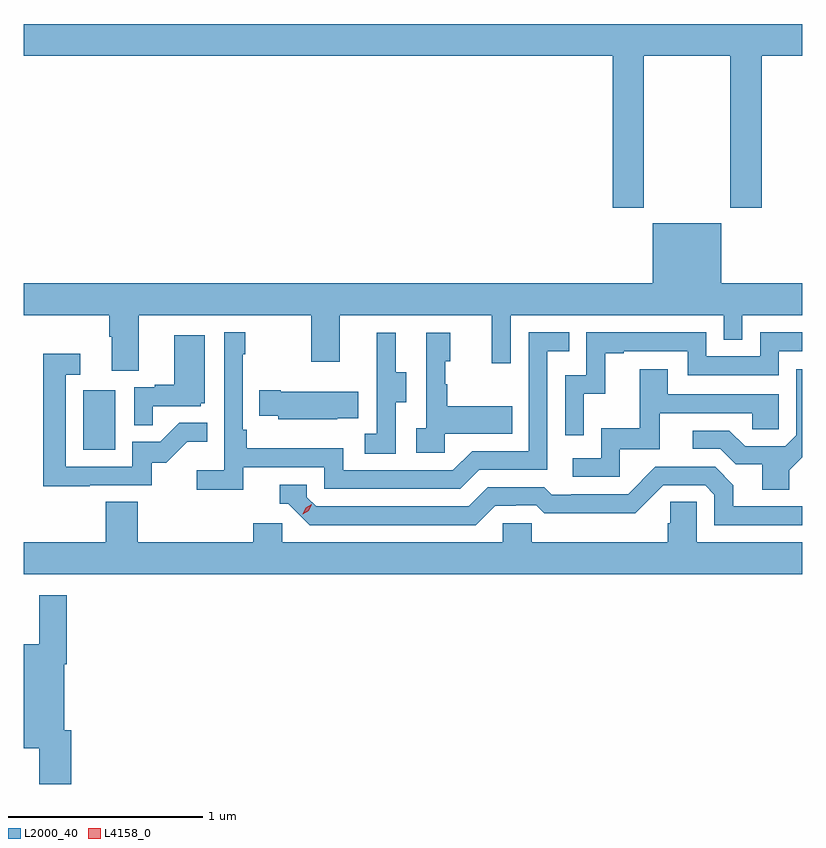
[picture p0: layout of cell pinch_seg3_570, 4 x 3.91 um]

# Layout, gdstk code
import gdstk
lib = gdstk.Library(unit=1e-6, precision=1e-09)
def R(c, l, rs):  # rectangles x0, y0, x1, y1
    for r in rs: c.add(gdstk.rectangle(r[:2], r[2:], *l))
def P(c, l, *ps):  # polygons
    for p in ps: c.add(gdstk.Polygon(p, *l))
L2000_40 = (2000, 40)
L4158_0 = (4158, 0)

pinch_seg3_570 = lib.new_cell('pinch_seg3_570')
R(pinch_seg3_570, L2000_40, [(1029.122,704.22,1029.286,704.527)])
P(pinch_seg3_570, L2000_40, [(1032.003,706.244),(1032.448,706.244),(1032.448,705.465),(1032.608,705.465),(1032.608,706.244),(1032.817,706.244),(1032.817,706.408),(1028.817,706.408),(1028.817,706.244),(1031.843,706.244),(1031.843,705.465),(1032.003,705.465)],
  [(1029.409,704.912),(1030.294,704.912),(1030.294,704.673),(1030.441,704.673),(1030.441,704.912),(1031.222,704.912),(1031.222,704.664),(1031.319,704.664),(1031.319,704.912),(1032.414,704.912),(1032.414,704.785),(1032.51,704.785),(1032.51,704.912),(1032.817,704.912),(1032.817,705.076),(1032.4,705.076),(1032.4,705.385),(1032.05,705.385),(1032.05,705.076),(1028.817,705.076),(1028.817,704.912),(1029.257,704.912),(1029.257,704.8),(1029.269,704.8),(1029.269,704.626),(1029.409,704.626)],
  [(1029.944,704.13),(1030.362,704.13),(1030.362,704.019),(1031.059,704.019),(1031.158,704.118),(1031.508,704.118),(1031.508,704.727),(1031.621,704.727),(1031.621,704.823),(1031.412,704.823),(1031.412,704.214),(1031.121,704.214),(1031.022,704.115),(1030.458,704.115),(1030.458,704.227),(1029.962,704.227),(1029.962,704.323),(1029.942,704.323),(1029.942,704.711),(1029.955,704.711),(1029.955,704.824),(1029.846,704.824),(1029.846,704.116),(1029.705,704.116),(1029.705,704.014),(1029.944,704.014)],
  [(1031.694,704.507),(1031.804,704.507),(1031.804,704.715),(1031.899,704.715),(1031.899,704.727),(1032.228,704.727),(1032.228,704.604),(1032.696,704.604),(1032.696,704.727),(1032.817,704.727),(1032.817,704.823),(1032.6,704.823),(1032.6,704.7),(1032.324,704.7),(1032.324,704.823),(1031.706,704.823),(1031.706,704.604),(1031.598,704.604),(1031.598,704.295),(1031.694,704.295)],
  [(1030.728,704.464),(1030.783,704.464),(1030.783,704.619),(1030.729,704.619),(1030.729,704.821),(1030.631,704.821),(1030.631,704.607),(1030.632,704.607),(1030.632,704.303),(1030.569,704.303),(1030.569,704.2),(1030.728,704.2)],
  [(1030.98,704.303),(1031.327,704.303),(1031.327,704.443),(1030.993,704.443),(1030.993,704.558),(1030.983,704.558),(1030.983,704.676),(1031.008,704.676),(1031.008,704.821),(1030.884,704.821),(1030.884,704.33),(1030.833,704.33),(1030.833,704.205),(1030.98,704.205)],
  [(1029.479,704.445),(1029.726,704.445),(1029.726,704.46),(1029.748,704.46),(1029.748,704.809),(1029.59,704.809),(1029.59,704.554),(1029.491,704.554),(1029.491,704.541),(1029.384,704.541),(1029.384,704.347),(1029.479,704.347)],
  [(1029.155,704.037),(1029.474,704.037),(1029.474,704.154),(1029.55,704.154),(1029.657,704.261),(1029.761,704.261),(1029.761,704.36),(1029.617,704.36),(1029.519,704.262),(1029.375,704.262),(1029.375,704.133),(1029.033,704.133),(1029.033,704.607),(1029.106,704.607),(1029.106,704.713),(1028.917,704.713),(1028.917,704.032),(1029.155,704.032)],
  [(1031.88,704.223),(1032.085,704.223),(1032.085,704.409),(1032.559,704.409),(1032.559,704.325),(1032.696,704.325),(1032.696,704.505),(1032.127,704.505),(1032.127,704.635),(1031.983,704.635),(1031.983,704.332),(1031.784,704.332),(1031.784,704.178),(1031.637,704.178),(1031.637,704.082),(1031.88,704.082)],
  [(1032.751,704.116),(1032.817,704.182),(1032.817,704.635),(1032.786,704.635),(1032.786,704.295),(1032.729,704.238),(1032.523,704.238),(1032.442,704.319),(1032.255,704.319),(1032.255,704.226),(1032.396,704.226),(1032.476,704.146),(1032.611,704.146),(1032.611,704.014),(1032.751,704.014)],
  [(1030.427,704.381),(1030.535,704.381),(1030.535,704.518),(1030.138,704.518),(1030.138,704.526),(1030.027,704.526),(1030.027,704.396),(1030.125,704.396),(1030.125,704.378),(1030.427,704.378)],
  [(1031.239,703.932),(1031.346,703.932),(1031.346,703.935),(1031.449,703.935),(1031.491,703.893),(1031.724,703.893),(1031.724,703.895),(1031.96,703.895),(1032.102,704.037),(1032.318,704.037),(1032.366,703.989),(1032.366,703.833),(1032.817,703.833),(1032.817,703.929),(1032.463,703.929),(1032.463,704.039),(1032.369,704.133),(1032.063,704.133),(1031.922,703.992),(1031.629,703.992),(1031.629,703.989),(1031.53,703.989),(1031.491,704.028),(1031.202,704.028),(1031.103,703.929),(1030.32,703.929),(1030.272,703.977),(1030.272,704.04),(1030.133,704.04),(1030.133,703.944),(1030.176,703.944),(1030.287,703.833),(1031.14,703.833)],
  [(1032.817,703.744),(1032.276,703.744),(1032.276,703.952),(1032.139,703.952),(1032.139,703.842),(1032.125,703.842),(1032.125,703.744),(1031.427,703.744),(1031.427,703.842),(1031.277,703.842),(1031.277,703.744),(1030.146,703.744),(1030.146,703.842),(1029.995,703.842),(1029.995,703.744),(1029.404,703.744),(1029.404,703.952),(1029.239,703.952),(1029.239,703.744),(1028.817,703.744),(1028.817,703.58),(1032.817,703.58)],
  [(1029.062,702.78),(1029.025,702.78),(1029.025,703.118),(1029.038,703.118),(1029.038,703.474),(1028.897,703.474),(1028.897,703.222),(1028.817,703.222),(1028.817,702.687),(1028.897,702.687),(1028.897,702.503),(1029.062,702.503)])
P(pinch_seg3_570, L4158_0, [(1030.251,703.889),(1030.251,703.889),(1030.267,703.922),(1030.298,703.941),(1030.298,703.941),(1030.298,703.941),(1030.282,703.908),(1030.251,703.889)])

lib.write_gds('pinch_seg3_570.gds')
